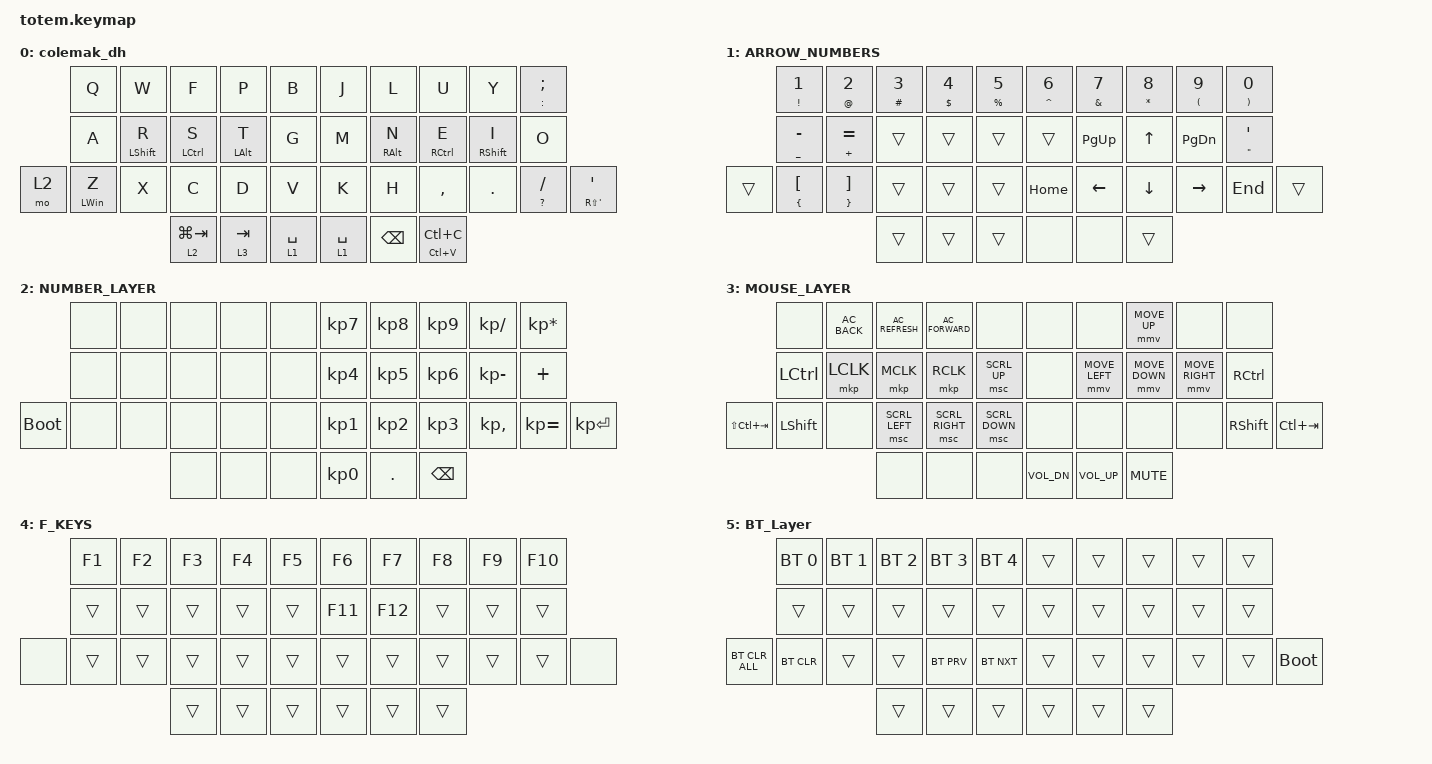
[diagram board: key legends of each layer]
//
//                                                        ▀▀▀▀▀     ▀▀▀▀▀          ▀▀█▀▀
//                                                        ▄▀▀▀▄  ▄  ▄▀▀▀▄  ▄  ▄▀▀▀▄  █  ▄▀▀▀▄
//                                                        █   █  █  █   █  █  █   █  █  █   █
//                                                         ▀▀▀   █   ▀▀▀   █   ▀▀▀   ▀   ▀▀▀
//                                                               █      ▄▄▄█▄▄▄    █   █  
//                                                               ▀      █  █  █     █▄█
//                                                             ▀▀▀▀▀    █  █  █      ▀
//                                                                      ▀  ▀  ▀
//
// ▄▄▄▄▄▄▄▄▄▄▄▄▄▄▄▄▄▄▄▄▄▄▄▄▄▄▄▄▄▄▄▄▄▄▄▄▄▄▄▄▄▄▄▄▄▄▄▄▄▄▄▄▄▄▄▄▄▄▄▄▄▄▄▄▄▄▄▄▄▄▄▄▄▄▄▄▄▄▄▄▄▄▄▄▄▄▄▄▄▄▄▄▄▄▄▄▄▄▄▄▄▄▄▄▄▄▄▄▄▄▄▄▄▄▄▄▄▄▄▄▄▄▄▄▄▄▄▄▄▄▄▄▄▄▄▄▄▄▄▄▄▄▄▄▄▄▄▄▄

#include <dt-bindings/zmk/mouse.h>
#include <input/processors.dtsi>
#include <behaviors.dtsi>
#include <dt-bindings/zmk/bt.h>
#include <dt-bindings/zmk/keys.h>
#include <dt-bindings/zmk/pointing.h>

/*

   &mmv_input_listener {
       input-processors = <&zip_xy_scaler 2 1>;
   };

   &msc_input_listener {
       input-processors = <&zip_xy_scaler 2 1>;
   };

 */

#define ZMK_MOUSE_DEFAULT_MOVE_VAL 1200  // 600
#define ZMK_MOUSE_DEFAULT_SCRL_VAL 20    // 10

&mt {
    tapping-term-ms = <200>;
    quick-tap-ms = <175>;
    flavor = "balanced";
    hold-trigger-key-positions = <16 17 18 13 12 11 21>;
    hold-trigger-on-release;
};

&mmv {
};

&msc {
};

&lt {
};

/ {
    behaviors {
        mmv {
            acceleration-exponent = <1>;      // 1
            time-to-max-speed-ms = <900>;    // 40
            delay-ms = <0>;                   // 0
        };

        msc {
            acceleration-exponent = <1>;      // 0
            time-to-max-speed-ms = <400>;      // 500
            delay-ms = <0>;                   //   10
        };
    };

    combos {
        compatible = "zmk,combos";

        a {
            bindings = <&mt GRAVE ESCAPE>;
            key-positions = <0 1>;
            layers = <0 2>;
        };

        b {
            bindings = <&kp CLCK>;
            key-positions = <10 11 12>;
        };

        d {
            bindings = <&kp DEL>;
            key-positions = <8 9>;
        };

        e {
            bindings = <&kp ENTER>;
            key-positions = <18 17>;
        };

        h {
            bindings = <&sys_reset>;
            key-positions = <1 12 13 25>;
        };

        j {
            bindings = <&sys_reset>;
            key-positions = <17 8 16 26>;
        };

        Backslash_pipe {
            bindings = <&mt PIPE BACKSLASH>;
            key-positions = <29 30>;
        };

        print_screen {
            bindings = <&screenshot>;
            key-positions = <21 22 23>;
        };

        num_layer {
            bindings = <&to 2>;
            key-positions = <6 7 5>;
        };

        bt_layer {
            bindings = <&to 5>;
            key-positions = <4 3 2>;
        };

        default_layer {
            bindings = <&to 0>;
            key-positions = <15 16 17 18>;
        };

        f_layer {
            bindings = <&to 4>;
            key-positions = <14 13 12 11>;
        };

        grave {
            bindings = <&mt LS(GRAVE) GRAVE>;
            key-positions = <0 1>;
            layers = <1>;
        };

        shift_select {
            bindings = <&kp LEFT_SHIFT>;
            key-positions = <11 12>;
        };
    };

    macros {
        screenshot: screenshot {
            compatible = "zmk,behavior-macro";
            #binding-cells = <0>;
            bindings =
                <&macro_press>,
                <&kp LS(LEFT_GUI)>,
                <&macro_tap>,
                <&kp S>,
                <&macro_release>,
                <&kp LS(LEFT_GUI)>;

            label = "SCREENSHOT";
        };
    };

    keymap {
        compatible = "zmk,keymap";

        // ▄▄▄▄▄▄▄▄▄▄▄▄▄▄▄▄▄▄▄▄▄▄▄▄▄▄▄▄▄▄▄▄▄▄▄▄▄▄▄▄▄▄▄▄▄▄▄▄▄▄▄▄▄▄▄▄▄▄▄▄▄▄▄▄▄▄▄▄▄▄▄▄▄▄▄▄▄▄▄▄▄▄▄▄▄▄▄▄▄▄▄▄▄▄▄▄▄▄▄▄▄▄▄▄▄▄▄▄▄▄▄▄▄▄▄▄▄▄▄▄▄▄▄▄▄▄▄▄▄▄▄▄▄▄▄▄▄▄▄▄▄▄▄▄▄▄▄▄▄

        colemak_dh {
            bindings = <
       &kp Q           &kp W             &kp F          &kp P           &kp B          &kp J        &kp L            &kp U            &kp Y              &mt COLON SEMI
       &kp A           &mt LEFT_SHIFT R  &mt LCTRL S    &mt LEFT_ALT T  &kp G          &kp M        &mt RIGHT_ALT N  &mt RCTRL E      &mt RIGHT_SHIFT I  &kp O
&mo 2  &mt LEFT_WIN Z  &kp X             &kp C          &kp D           &kp V          &kp K        &kp H            &kp COMMA        &kp DOT            &mt QUESTION SLASH  &mt RS(APOS) APOS
                                         &lt 2 LG(TAB)  &lt 3 TAB       &lt 1 SPACE    &lt 1 SPACE  &kp BACKSPACE    &mt LC(V) LC(C)
            >;

            label = "colemak_dh";
        };

        arrow_numbers {
            // ┏━━━━━━━━━━━━━━━━━━━━━━━━━━━━━━━━━━━━━━━┓

            label = "ARROW_NUMBERS";

            // ┗━━━━━━━━━━━━━━━━━━━━━━━━━━━━━━━━━━━━━━━┛
            //             ┏━━━━━━━━━━━┳━━━━━━━━━━━┳━━━━━━━━━━━┳━━━━━━━━━━━┳━━━━━━━━━━━┓   ┏━━━━━━━━━━━┳━━━━━━━━━━━┳━━━━━━━━━━━┳━━━━━━━━━━━┳━━━━━━━━━━━┓
            //             ┃           ┃           ┃     UP    ┃           ┃     {     ┃   ┃     }     ┃     7     ┃     8     ┃     9     ┃     +     ┃
            //             ┣━━━━━━━━━━━╋━━━━━━━━━━━╋━━━━━━━━━━━╋━━━━━━━━━━━╋━━━━━━━━━━━┫   ┣━━━━━━━━━━━╋━━━━━━━━━━━╋━━━━━━━━━━━╋━━━━━━━━━━━╋━━━━━━━━━━━┫
            //             ┃   SHIFT   ┃   LEFT    ┃    DOWN   ┃   RIGHT   ┃     [     ┃   ┃     ]     ┃     4     ┃     5     ┃     6     ┃     -     ┃
            // ┏━━━━━━━━━━━╋━━━━━━━━━━━╋━━━━━━━━━━━╋━━━━━━━━━━━╋━━━━━━━━━━━╋━━━━━━━━━━━┫   ┣━━━━━━━━━━━╋━━━━━━━━━━━╋━━━━━━━━━━━╋━━━━━━━━━━━╋━━━━━━━━━━━╋━━━━━━━━━━━┓
            // ┃           ┃           ┃   P UP    ┃  C LOCK   ┃  P DOWN   ┃     (     ┃   ┃     )     ┃     1     ┃     2     ┃     3     ┃     *     ┃           ┃
            // ┗━━━━━━━━━━━┻━━━━━━━━━━━┻━━━━━━━━━━━╋━━━━━━━━━━━╋━━━━━━━━━━━╋━━━━━━━━━━━┫   ┣━━━━━━━━━━━╋━━━━━━━━━━━╋━━━━━━━━━━━╋━━━━━━━━━━━┻━━━━━━━━━━━┻━━━━━━━━━━━┛
            //                                     ┃           ┃    TAB    ┃    SPC    ┃   ┃    DEL    ┃     0     ┃           ┃
            //                                     ┗━━━━━━━━━━━┻━━━━━━━━━━━┻━━━━━━━━━━━┛   ┗━━━━━━━━━━━┻━━━━━━━━━━━┻━━━━━━━━━━━┛

            bindings = <
        &mt EXCL NUMBER_1            &mt AT_SIGN NUMBER_2           &mt HASH NUMBER_3  &mt DOLLAR NUMBER_4  &mt PERCENT N5    &mt CARET NUMBER_6  &mt AMPERSAND N7  &mt ASTERISK N8  &mt LEFT_PARENTHESIS N9  &mt RIGHT_PARENTHESIS NUMBER_0
        &mt UNDER MINUS              &mt PLUS EQUAL                 &trans             &trans               &trans            &trans              &kp PG_UP         &kp UP_ARROW     &kp PAGE_DOWN            &mt DOUBLE_QUOTES SQT
&trans  &mt LEFT_BRACE LEFT_BRACKET  &mt RIGHT_BRACE RIGHT_BRACKET  &trans             &trans               &trans            &kp HOME            &kp LEFT          &kp DOWN         &kp RIGHT                &kp END                         &trans
                                                                    &trans             &trans               &trans            &none               &none             &trans
            >;
        };

        number_layer {
            // ┏━━━━━━━━━━━━━━━━━━━━━━━━━━━━━━━━━━━━━━━┓

            label = "NUMBER_LAYER";

            // ┗━━━━━━━━━━━━━━━━━━━━━━━━━━━━━━━━━━━━━━━┛
            //             ┏━━━━━━━━━━━┳━━━━━━━━━━━┳━━━━━━━━━━━┳━━━━━━━━━━━┳━━━━━━━━━━━┓   ┏━━━━━━━━━━━┳━━━━━━━━━━━┳━━━━━━━━━━━┳━━━━━━━━━━━┳━━━━━━━━━━━┓
            //             ┃   RESET   ┃ BT CLEAR  ┃  OUT TOG  ┃           ┃           ┃   ┃           ┃    F7     ┃    F8     ┃    F9     ┃    F12    ┃
            //             ┣━━━━━━━━━━━╋━━━━━━━━━━━╋━━━━━━━━━━━╋━━━━━━━━━━━╋━━━━━━━━━━━┫   ┣━━━━━━━━━━━╋━━━━━━━━━━━╋━━━━━━━━━━━╋━━━━━━━━━━━╋━━━━━━━━━━━┫
            //             ┃ BOOTLOAD  ┃ BT NEXT   ┃           ┃           ┃           ┃   ┃           ┃    F4     ┃    F5     ┃    F6     ┃    F11    ┃
            // ┏━━━━━━━━━━━╋━━━━━━━━━━━╋━━━━━━━━━━━╋━━━━━━━━━━━╋━━━━━━━━━━━╋━━━━━━━━━━━┫   ┣━━━━━━━━━━━╋━━━━━━━━━━━╋━━━━━━━━━━━╋━━━━━━━━━━━╋━━━━━━━━━━━╋━━━━━━━━━━━┓
            // ┃           ┃           ┃ BT PREV   ┃           ┃           ┃           ┃   ┃           ┃    F1     ┃    F2     ┃    F3     ┃    F10    ┃           ┃
            // ┗━━━━━━━━━━━┻━━━━━━━━━━━┻━━━━━━━━━━━╋━━━━━━━━━━━╋━━━━━━━━━━━╋━━━━━━━━━━━┫   ┣━━━━━━━━━━━╋━━━━━━━━━━━╋━━━━━━━━━━━╋━━━━━━━━━━━┻━━━━━━━━━━━┻━━━━━━━━━━━┛
            //                                     ┃           ┃           ┃           ┃   ┃           ┃           ┃           ┃
            //                                     ┗━━━━━━━━━━━┻━━━━━━━━━━━┻━━━━━━━━━━━┛   ┗━━━━━━━━━━━┻━━━━━━━━━━━┻━━━━━━━━━━━┛

            bindings = <
             &none  &none  &none  &none  &none    &kp KP_NUMBER_7  &kp KP_NUMBER_8  &kp KP_NUMBER_9  &kp KP_DIVIDE    &kp KP_MULTIPLY
             &none  &none  &none  &none  &none    &kp KP_NUMBER_4  &kp KP_NUMBER_5  &kp KP_NUMBER_6  &kp KP_SUBTRACT  &kp PLUS
&bootloader  &none  &none  &none  &none  &none    &kp KP_NUMBER_1  &kp KP_NUMBER_2  &kp KP_NUMBER_3  &kp KP_COMMA     &kp KP_EQUAL     &kp KP_ENTER
                           &none  &none  &none    &kp KP_NUMBER_0  &kp PERIOD       &kp BACKSPACE
            >;
        };

        mouse_layer {
            // ┏━━━━━━━━━━━━━━━━━━━━━━━━━━━━━━━━━━━━━━━┓

            label = "MOUSE_LAYER";

            // ┗━━━━━━━━━━━━━━━━━━━━━━━━━━━━━━━━━━━━━━━┛
            //             ┏━━━━━━━━━━━┳━━━━━━━━━━━┳━━━━━━━━━━━┳━━━━━━━━━━━┳━━━━━━━━━━━┓   ┏━━━━━━━━━━━┳━━━━━━━━━━━┳━━━━━━━━━━━┳━━━━━━━━━━━┳━━━━━━━━━━━┓
            //             ┃ NEXT FILE ┃ MARK IN   ┃ ROTATE    ┃ MARK OUT  ┃ SHOW SNAP ┃   ┃           ┃           ┃           ┃           ┃           ┃
            //             ┣━━━━━━━━━━━╋━━━━━━━━━━━╋━━━━━━━━━━━╋━━━━━━━━━━━╋━━━━━━━━━━━┫   ┣━━━━━━━━━━━╋━━━━━━━━━━━╋━━━━━━━━━━━╋━━━━━━━━━━━╋━━━━━━━━━━━┫
            //             ┃ TVP II    ┃ LEFT      ┃ PAN       ┃ RIGHT     ┃ PLAY/FLIP ┃   ┃           ┃           ┃           ┃           ┃           ┃
            // ┏━━━━━━━━━━━╋━━━━━━━━━━━╋━━━━━━━━━━━╋━━━━━━━━━━━╋━━━━━━━━━━━╋━━━━━━━━━━━┫   ┣━━━━━━━━━━━╋━━━━━━━━━━━╋━━━━━━━━━━━╋━━━━━━━━━━━╋━━━━━━━━━━━╋━━━━━━━━━━━┓
            // ┃ FULLSCR   ┃ SHIFT     ┃ COPY      ┃ DELETE    ┃ PASTE     ┃ IMG MARK  ┃   ┃           ┃           ┃           ┃           ┃           ┃           ┃
            // ┗━━━━━━━━━━━┻━━━━━━━━━━━┻━━━━━━━━━━━╋━━━━━━━━━━━╋━━━━━━━━━━━╋━━━━━━━━━━━┫   ┣━━━━━━━━━━━╋━━━━━━━━━━━╋━━━━━━━━━━━╋━━━━━━━━━━━┻━━━━━━━━━━━┻━━━━━━━━━━━┛
            //                                     ┃           ┃ UNDO/SAVE ┃  SEL/MOV  ┃   ┃           ┃           ┃           ┃
            //                                     ┗━━━━━━━━━━━┻━━━━━━━━━━━┻━━━━━━━━━━━┛   ┗━━━━━━━━━━━┻━━━━━━━━━━━┻━━━━━━━━━━━┛

            bindings = <
                 &none           &kp C_AC_BACK  &kp C_AC_REFRESH  &kp C_AC_FORWARD  &none             &none         &none           &mmv MOVE_UP    &none            &none
                 &kp LCTRL       &mkp LCLK      &mkp MCLK         &mkp RCLK         &msc SCRL_UP      &none         &mmv MOVE_LEFT  &mmv MOVE_DOWN  &mmv MOVE_RIGHT  &kp RCTRL
&kp LS(LC(TAB))  &kp LEFT_SHIFT  &none          &msc SCRL_LEFT    &msc SCRL_RIGHT   &msc SCRL_DOWN    &none         &none           &none           &none            &kp RIGHT_SHIFT  &kp LC(TAB)
                                                &none             &none             &none             &kp C_VOL_DN  &kp C_VOL_UP    &kp K_MUTE
            >;
        };

        f_layer {
            // ┏━━━━━━━━━━━━━━━━━━━━━━━━━━━━━━━━━━━━━━━┓

            label = "F_KEYS";

            // ┗━━━━━━━━━━━━━━━━━━━━━━━━━━━━━━━━━━━━━━━┛
            //             ┏━━━━━━━━━━━┳━━━━━━━━━━━┳━━━━━━━━━━━┳━━━━━━━━━━━┳━━━━━━━━━━━┓   ┏━━━━━━━━━━━┳━━━━━━━━━━━┳━━━━━━━━━━━┳━━━━━━━━━━━┳━━━━━━━━━━━┓
            //             ┃ SOLO      ┃ TOGGLE IN ┃ RESET ROT ┃ TOGGLE OUT┃ TAKE SNAP ┃   ┃           ┃           ┃           ┃           ┃           ┃
            //             ┣━━━━━━━━━━━╋━━━━━━━━━━━╋━━━━━━━━━━━╋━━━━━━━━━━━╋━━━━━━━━━━━┫   ┣━━━━━━━━━━━╋━━━━━━━━━━━╋━━━━━━━━━━━╋━━━━━━━━━━━╋━━━━━━━━━━━┫
            //             ┃ ---       ┃ LAST KEY  ┃ NEW KEY   ┃ NEXT KEY  ┃ ENTER     ┃   ┃           ┃           ┃           ┃           ┃           ┃
            // ┏━━━━━━━━━━━╋━━━━━━━━━━━╋━━━━━━━━━━━╋━━━━━━━━━━━╋━━━━━━━━━━━╋━━━━━━━━━━━┫   ┣━━━━━━━━━━━╋━━━━━━━━━━━╋━━━━━━━━━━━╋━━━━━━━━━━━╋━━━━━━━━━━━╋━━━━━━━━━━━┓
            // ┃           ┃ FULLSCR   ┃ CPY2BRUSH ┃ DEL HEAD  ┃ PSTinPLACE┃ BOOK MARK ┃   ┃           ┃           ┃           ┃           ┃           ┃           ┃
            // ┗━━━━━━━━━━━┻━━━━━━━━━━━┻━━━━━━━━━━━╋━━━━━━━━━━━╋━━━━━━━━━━━╋━━━━━━━━━━━┫   ┣━━━━━━━━━━━╋━━━━━━━━━━━╋━━━━━━━━━━━╋━━━━━━━━━━━┻━━━━━━━━━━━┻━━━━━━━━━━━┛
            //                                     ┃           ┃ REDO/SAV1 ┃TRANS/WARP ┃   ┃           ┃           ┃           ┃
            //                                     ┗━━━━━━━━━━━┻━━━━━━━━━━━┻━━━━━━━━━━━┛   ┗━━━━━━━━━━━┻━━━━━━━━━━━┻━━━━━━━━━━━┛

            bindings = <
       &kp F1  &kp F2  &kp F3  &kp F4  &kp F5    &kp F6   &kp F7   &kp F8  &kp F9  &kp F10
       &trans  &trans  &trans  &trans  &trans    &kp F11  &kp F12  &trans  &trans  &trans
&none  &trans  &trans  &trans  &trans  &trans    &trans   &trans   &trans  &trans  &trans   &none
                       &trans  &trans  &trans    &trans   &trans   &trans
            >;
        };

        bt_layer {
            bindings = <
                &bt BT_SEL 0  &bt BT_SEL 1  &bt BT_SEL 2  &bt BT_SEL 3  &bt BT_SEL 4    &trans  &trans  &trans  &trans  &trans
                &trans        &trans        &trans        &trans        &trans          &trans  &trans  &trans  &trans  &trans
&bt BT_CLR_ALL  &bt BT_CLR    &trans        &trans        &bt BT_PRV    &bt BT_NXT      &trans  &trans  &trans  &trans  &trans  &bootloader
                                            &trans        &trans        &trans          &trans  &trans  &trans
            >;

            label = "BT_Layer";
        };
    };
};
